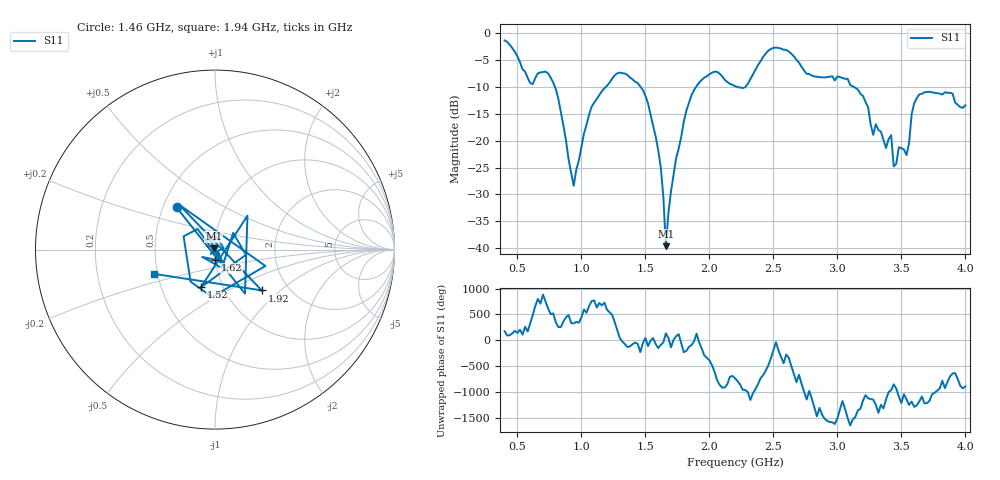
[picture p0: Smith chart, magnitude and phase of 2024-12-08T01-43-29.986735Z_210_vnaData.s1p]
!Created with skrf (http://scikit-rf.org).
# Hz S RI R 50.0
!freq ReS11 ImS11
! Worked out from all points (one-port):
!   181 points, 400 MHz to 4 GHz, reference 50 ohm
!   lowest |S11| = -39.6 dB at 1.66 GHz (marker M1), VSWR 1.02, Z = 49.3 + j0.719 ohm
!   |S11| at or under -10 dB: 793.4 MHz to 1.191 GHz (397.4 MHz wide, 40.1 % of centre); 1.462 GHz to 1.896 GHz (433.9 MHz wide, 25.8 % of centre); 3.127 GHz to end of sweep (the widest 3 of 4)
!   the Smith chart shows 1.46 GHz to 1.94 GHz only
!   S11 on the Smith chart (normalised r, x): 1.46 GHz: 0.59, +0.31; 1.52 GHz: 0.79, -0.35; 1.62 GHz: 1.00, -0.11; 1.92 GHz: 1.47, -0.76; 1.94 GHz: 0.48, -0.15
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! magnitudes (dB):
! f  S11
! 400 MHz  -1.4
! 600 MHz  -9.3
! 740 MHz  -7.5
! 860 MHz  -17.3
! 940 MHz  -28.4
! 1.08 GHz  -13.7
! 1.3 GHz  -7.3
! 1.46 GHz  -9.9
! 1.52 GHz  -13.0
! 1.62 GHz  -24.9
! 1.66 GHz  -39.6
! 1.7 GHz  -29.4
! 1.76 GHz  -21.5
! 1.82 GHz  -14.4
! 1.92 GHz  -9.2
! 1.94 GHz  -8.7
! 2.2 GHz  -9.8
! 2.48 GHz  -2.9
! 2.66 GHz  -4.3
! 3.1 GHz  -9.6
! 3.2 GHz  -11.7
! 3.28 GHz  -18.9
! 3.42 GHz  -19.0
! 3.44 GHz  -24.8
! 3.56 GHz  -20.4
! 3.58 GHz  -15.1
! 3.64 GHz  -11.4
! 4 GHz  -13.4
